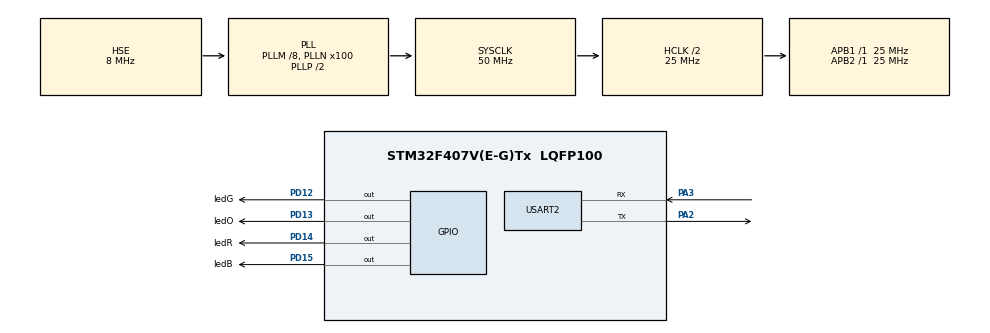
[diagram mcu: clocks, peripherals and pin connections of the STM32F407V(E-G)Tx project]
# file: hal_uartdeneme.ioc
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Mcu.Family=STM32F4
Mcu.Name=STM32F407V(E-G)Tx
Mcu.Package=LQFP100
NVIC.PriorityGroup=NVIC_PRIORITYGROUP_4
NVIC.TIM2_IRQn=true\:0\:0\:false\:false\:true\:true\:true\:true
NVIC.USART2_IRQn=true\:0\:0\:true\:false\:true\:true\:true\:true
PA13.Mode=Serial_Wire
PA13.Signal=SYS_JTMS-SWDIO
PA14.Mode=Serial_Wire
PA14.Signal=SYS_JTCK-SWCLK
PA2.Mode=Asynchronous
PA2.Signal=USART2_TX
PA3.Mode=Asynchronous
PA3.Signal=USART2_RX
PD12.GPIO_Label=ledG
PD12.Signal=GPIO_Output
PD13.GPIO_Label=ledO
PD13.Signal=GPIO_Output
PD14.GPIO_Label=ledR
PD14.Signal=GPIO_Output
PD15.GPIO_Label=ledB
PD15.GPIO_Speed=GPIO_SPEED_FREQ_HIGH
PD15.Signal=GPIO_Output
PH0-OSC_IN.Mode=HSE-External-Oscillator
PH0-OSC_IN.Signal=RCC_OSC_IN
PH1-OSC_OUT.Mode=HSE-External-Oscillator
PH1-OSC_OUT.Signal=RCC_OSC_OUT
ProjectManager.HeapSize=0x200
ProjectManager.StackSize=0x400
ProjectManager.TargetToolchain=STM32CubeIDE
RCC.48MHZClocksFreq_Value=25000000
RCC.AHBCLKDivider=RCC_SYSCLK_DIV2
RCC.AHBFreq_Value=25000000
RCC.APB1Freq_Value=25000000
RCC.APB1TimFreq_Value=25000000
RCC.APB2Freq_Value=25000000
RCC.APB2TimFreq_Value=25000000
RCC.CortexFreq_Value=25000000
RCC.HCLKFreq_Value=25000000
RCC.HSE_VALUE=8000000
RCC.HSI_VALUE=16000000
RCC.PLLM=8
RCC.PLLN=100
RCC.PLLSourceVirtual=RCC_PLLSOURCE_HSE
RCC.SYSCLKFreq_VALUE=50000000
RCC.SYSCLKSource=RCC_SYSCLKSOURCE_PLLCLK
RCC.VCOOutputFreq_Value=100000000
TIM2.Period=1013 - 1
TIM2.Prescaler=25000-1
USART2.VirtualMode=VM_ASYNC
VP_TIM2_VS_ClockSourceINT.Mode=Internal
board=custom

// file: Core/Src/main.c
/* USER CODE BEGIN Header */
/**
  ******************************************************************************
  * @file           : main.c
  * @brief          : Main program body
  ******************************************************************************
  * @attention
  *
  * Copyright (c) 2023 STMicroelectronics.
  * All rights reserved.
  *
  * This software is licensed under terms that can be found in the LICENSE file
  * in the root directory of this software component.
  * If no LICENSE file comes with this software, it is provided AS-IS.
  *
  ******************************************************************************
  */
/* USER CODE END Header */
#include "main.h"

/* USER CODE BEGIN Includes */
#include "string.h"
#include "time.h"
#include "stdlib.h"
#include "gpsLib.h"
#include "stdio.h"
#include "buffer.h"
/* USER CODE END Includes */

/* USER CODE BEGIN PM */
extern GPS_RTRN hataKodu;
/* USER CODE END PM */

TIM_HandleTypeDef htim2;

UART_HandleTypeDef huart2;

/* USER CODE BEGIN PV */
uint8_t dizi[80];
gps myGPS;

int anlikZaman = 0;
int gecmisZaman = 0;
/* USER CODE END PV */

void SystemClock_Config(void);
static void MX_GPIO_Init(void);
static void MX_USART2_UART_Init(void);
static void MX_TIM2_Init(void);
/* USER CODE BEGIN PFP */

void println_int(int32_t);
void printer(uint8_t*);

/* USER CODE END PFP */

int main(void)
{

  /* MCU Configuration--------------------------------------------------------*/

  /* Reset of all peripherals, Initializes the Flash interface and the Systick. */
  HAL_Init();

  /* Configure the system clock */
  SystemClock_Config();

  /* Initialize all configured peripherals */
  MX_GPIO_Init();
  MX_USART2_UART_Init();
  MX_TIM2_Init();
  /* USER CODE BEGIN 2 */
  uint8_t a;
  HAL_UART_Receive_IT(&huart2, &a, 1);
  HAL_TIM_Base_Start_IT(&htim2);

  /* USER CODE END 2 */

  /* Infinite loop */
  /* USER CODE BEGIN WHILE */

  gpsBaslat(&myGPS, dizi);
//  uint32_t anlikZaman = 0;
//  uint32_t eskiZaman = 0;

  //HAL_UART_Transmit(&huart2, (uint8_t*)itoa(sizeof(zaman), buf, 10), 1, 100);
  while (1)
  {
    /* USER CODE END WHILE */
    /* USER CODE BEGIN 3 */
	  if(hataKodu > 0){
		  anlikZaman = HAL_GetTick();
		  if(anlikZaman - gecmisZaman > 100){
			  HAL_GPIO_TogglePin(GPIOD, ledR_Pin);
			  gecmisZaman = anlikZaman;
		  }
	  }
	  else{
		  HAL_GPIO_WritePin(ledR_GPIO_Port, ledR_Pin, GPIO_PIN_RESET);
	  }
  }
  /* USER CODE END 3 */
}

void SystemClock_Config(void)
{
  RCC_OscInitTypeDef RCC_OscInitStruct = {0};
  RCC_ClkInitTypeDef RCC_ClkInitStruct = {0};

  /** Configure the main internal regulator output voltage
  */
  __HAL_RCC_PWR_CLK_ENABLE();
  __HAL_PWR_VOLTAGESCALING_CONFIG(PWR_REGULATOR_VOLTAGE_SCALE1);

  /** Initializes the RCC Oscillators according to the specified parameters
  * in the RCC_OscInitTypeDef structure.
  */
  RCC_OscInitStruct.OscillatorType = RCC_OSCILLATORTYPE_HSE;
  RCC_OscInitStruct.HSEState = RCC_HSE_ON;
  RCC_OscInitStruct.PLL.PLLState = RCC_PLL_ON;
  RCC_OscInitStruct.PLL.PLLSource = RCC_PLLSOURCE_HSE;
  RCC_OscInitStruct.PLL.PLLM = 8;
  RCC_OscInitStruct.PLL.PLLN = 100;
  RCC_OscInitStruct.PLL.PLLP = RCC_PLLP_DIV2;
  RCC_OscInitStruct.PLL.PLLQ = 4;
  if (HAL_RCC_OscConfig(&RCC_OscInitStruct) != HAL_OK)
  {
    Error_Handler();
  }

  /** Initializes the CPU, AHB and APB buses clocks
  */
  RCC_ClkInitStruct.ClockType = RCC_CLOCKTYPE_HCLK|RCC_CLOCKTYPE_SYSCLK
                              |RCC_CLOCKTYPE_PCLK1|RCC_CLOCKTYPE_PCLK2;
  RCC_ClkInitStruct.SYSCLKSource = RCC_SYSCLKSOURCE_PLLCLK;
  RCC_ClkInitStruct.AHBCLKDivider = RCC_SYSCLK_DIV2;
  RCC_ClkInitStruct.APB1CLKDivider = RCC_HCLK_DIV1;
  RCC_ClkInitStruct.APB2CLKDivider = RCC_HCLK_DIV1;

  if (HAL_RCC_ClockConfig(&RCC_ClkInitStruct, FLASH_LATENCY_0) != HAL_OK)
  {
    Error_Handler();
  }
}

static void MX_TIM2_Init(void)
{

  TIM_ClockConfigTypeDef sClockSourceConfig = {0};
  TIM_MasterConfigTypeDef sMasterConfig = {0};

  htim2.Instance = TIM2;
  htim2.Init.Prescaler = 25000-1;
  htim2.Init.CounterMode = TIM_COUNTERMODE_UP;
  htim2.Init.Period = 1013 - 1;
  htim2.Init.ClockDivision = TIM_CLOCKDIVISION_DIV1;
  htim2.Init.AutoReloadPreload = TIM_AUTORELOAD_PRELOAD_DISABLE;
  if (HAL_TIM_Base_Init(&htim2) != HAL_OK)
  {
    Error_Handler();
  }
  sClockSourceConfig.ClockSource = TIM_CLOCKSOURCE_INTERNAL;
  if (HAL_TIM_ConfigClockSource(&htim2, &sClockSourceConfig) != HAL_OK)
  {
    Error_Handler();
  }
  sMasterConfig.MasterOutputTrigger = TIM_TRGO_RESET;
  sMasterConfig.MasterSlaveMode = TIM_MASTERSLAVEMODE_DISABLE;
  if (HAL_TIMEx_MasterConfigSynchronization(&htim2, &sMasterConfig) != HAL_OK)
  {
    Error_Handler();
  }

}

static void MX_USART2_UART_Init(void)
{

  huart2.Instance = USART2;
  huart2.Init.BaudRate = 115200;
  huart2.Init.WordLength = UART_WORDLENGTH_8B;
  huart2.Init.StopBits = UART_STOPBITS_1;
  huart2.Init.Parity = UART_PARITY_NONE;
  huart2.Init.Mode = UART_MODE_TX_RX;
  huart2.Init.HwFlowCtl = UART_HWCONTROL_NONE;
  huart2.Init.OverSampling = UART_OVERSAMPLING_16;
  if (HAL_UART_Init(&huart2) != HAL_OK)
  {
    Error_Handler();
  }

}

static void MX_GPIO_Init(void)
{
  GPIO_InitTypeDef GPIO_InitStruct = {0};

  /* GPIO Ports Clock Enable */
  __HAL_RCC_GPIOH_CLK_ENABLE();
  __HAL_RCC_GPIOA_CLK_ENABLE();
  __HAL_RCC_GPIOD_CLK_ENABLE();

  /*Configure GPIO pin Output Level */
  HAL_GPIO_WritePin(GPIOD, ledG_Pin|ledO_Pin|ledR_Pin|ledB_Pin, GPIO_PIN_RESET);

  /*Configure GPIO pins : ledG_Pin ledO_Pin ledR_Pin */
  GPIO_InitStruct.Pin = ledG_Pin|ledO_Pin|ledR_Pin;
  GPIO_InitStruct.Mode = GPIO_MODE_OUTPUT_PP;
  GPIO_InitStruct.Pull = GPIO_NOPULL;
  GPIO_InitStruct.Speed = GPIO_SPEED_FREQ_LOW;
  HAL_GPIO_Init(GPIOD, &GPIO_InitStruct);

  /*Configure GPIO pin : ledB_Pin */
  GPIO_InitStruct.Pin = ledB_Pin;
  GPIO_InitStruct.Mode = GPIO_MODE_OUTPUT_PP;
  GPIO_InitStruct.Pull = GPIO_NOPULL;
  GPIO_InitStruct.Speed = GPIO_SPEED_FREQ_HIGH;
  HAL_GPIO_Init(ledB_GPIO_Port, &GPIO_InitStruct);

}

/* USER CODE BEGIN 4 */
void printer(uint8_t* printerStr)
{
	int i = 0;
	for(i = 0; printerStr[i] != '\0'; i++);
	HAL_UART_Transmit(&huart2, printerStr, i, 10);
}

void println_int(int32_t num)
{
	int i = 1;
	int tempNum = num;
	for(i = 1; tempNum / 10 != 0; i++)
	{
		tempNum /= 10;
	}
	char dizi[10];
	HAL_UART_Transmit(&huart2, (uint8_t*)"\r\n", 2, 2);
	HAL_UART_Transmit(&huart2, (uint8_t*)itoa(num, dizi, 10), i, 10);
	HAL_UART_Transmit(&huart2, (uint8_t*)"\r\n", 2, 2);
}

/* USER CODE END 4 */

void Error_Handler(void)
{
	__disable_irq();
  while (1)
  {
  }
}
